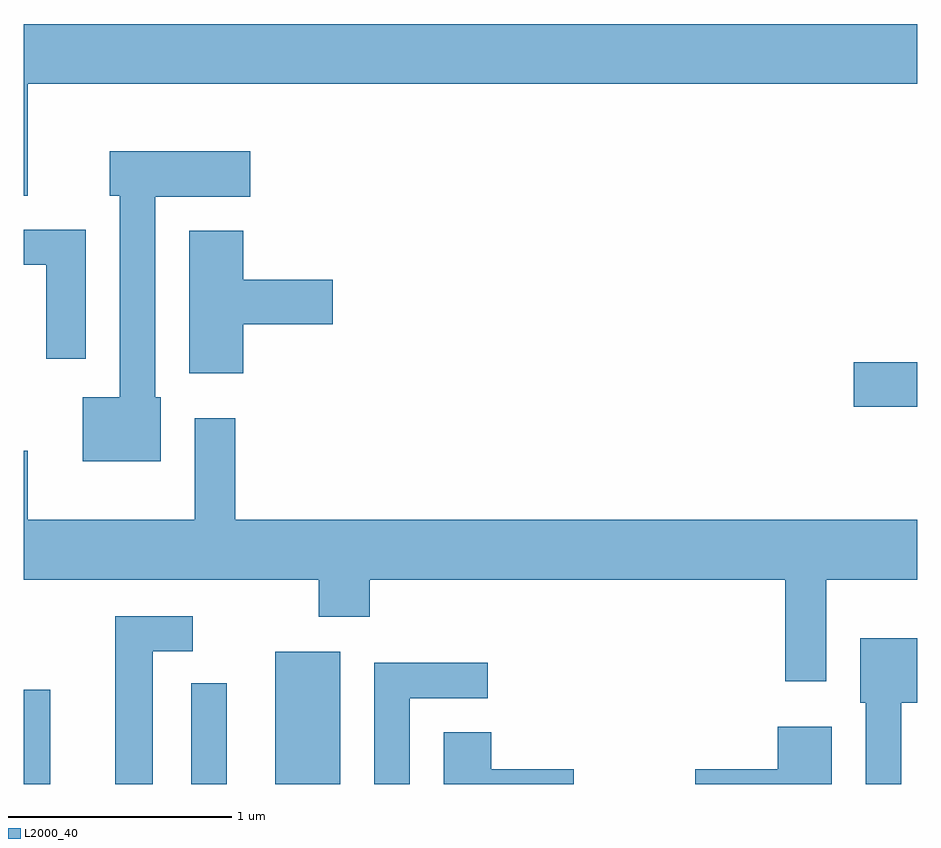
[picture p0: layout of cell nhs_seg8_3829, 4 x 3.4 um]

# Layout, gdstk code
import gdstk
lib = gdstk.Library(unit=1e-6, precision=1e-09)
def R(c, l, rs):  # rectangles x0, y0, x1, y1
    for r in rs: c.add(gdstk.rectangle(r[:2], r[2:], *l))
def P(c, l, *ps):  # polygons
    for p in ps: c.add(gdstk.Polygon(p, *l))
L2000_40 = (2000, 40)

nhs_seg8_3829 = lib.new_cell('nhs_seg8_3829')
R(nhs_seg8_3829, L2000_40, [(299.611,1884.342,299.729,1884.764), (300.361,1884.342,300.519,1884.793), (300.736,1884.342,301.029,1884.934), (303.326,1886.031,303.611,1886.229)])
P(nhs_seg8_3829, L2000_40, [(299.629,1887.476),(303.611,1887.476),(303.611,1887.744),(299.611,1887.744),(299.611,1886.976),(299.629,1886.976)],
  [(300.224,1886.074),(300.199,1886.074),(300.199,1886.971),(300.624,1886.971),(300.624,1887.174),(299.996,1887.174),(299.996,1886.976),(300.041,1886.976),(300.041,1886.074),(299.876,1886.074),(299.876,1885.786),(300.224,1885.786)],
  [(299.889,1886.824),(299.611,1886.824),(299.611,1886.666),(299.711,1886.666),(299.711,1886.246),(299.889,1886.246)],
  [(300.594,1886.401),(300.994,1886.401),(300.994,1886.599),(300.594,1886.599),(300.594,1886.819),(300.351,1886.819),(300.351,1886.181),(300.594,1886.181)],
  [(303.204,1885.256),(303.611,1885.256),(303.611,1885.524),(300.559,1885.524),(300.559,1885.979),(300.376,1885.979),(300.376,1885.524),(299.629,1885.524),(299.629,1885.834),(299.611,1885.834),(299.611,1885.256),(300.931,1885.256),(300.931,1885.091),(301.159,1885.091),(301.159,1885.256),(303.021,1885.256),(303.021,1884.801),(303.204,1884.801)],
  [(300.189,1884.936),(300.368,1884.936),(300.368,1885.094),(300.021,1885.094),(300.021,1884.342),(300.189,1884.342)],
  [(303.539,1884.706),(303.611,1884.706),(303.611,1884.994),(303.356,1884.994),(303.356,1884.706),(303.381,1884.706),(303.381,1884.342),(303.539,1884.342)],
  [(301.339,1884.726),(301.688,1884.726),(301.688,1884.884),(301.181,1884.884),(301.181,1884.342),(301.339,1884.342)],
  [(303.229,1884.599),(302.986,1884.599),(302.986,1884.409),(302.616,1884.409),(302.616,1884.342),(303.229,1884.342)],
  [(302.074,1884.409),(301.704,1884.409),(301.704,1884.574),(301.491,1884.574),(301.491,1884.342),(302.074,1884.342)])

lib.write_gds('nhs_seg8_3829.gds')
